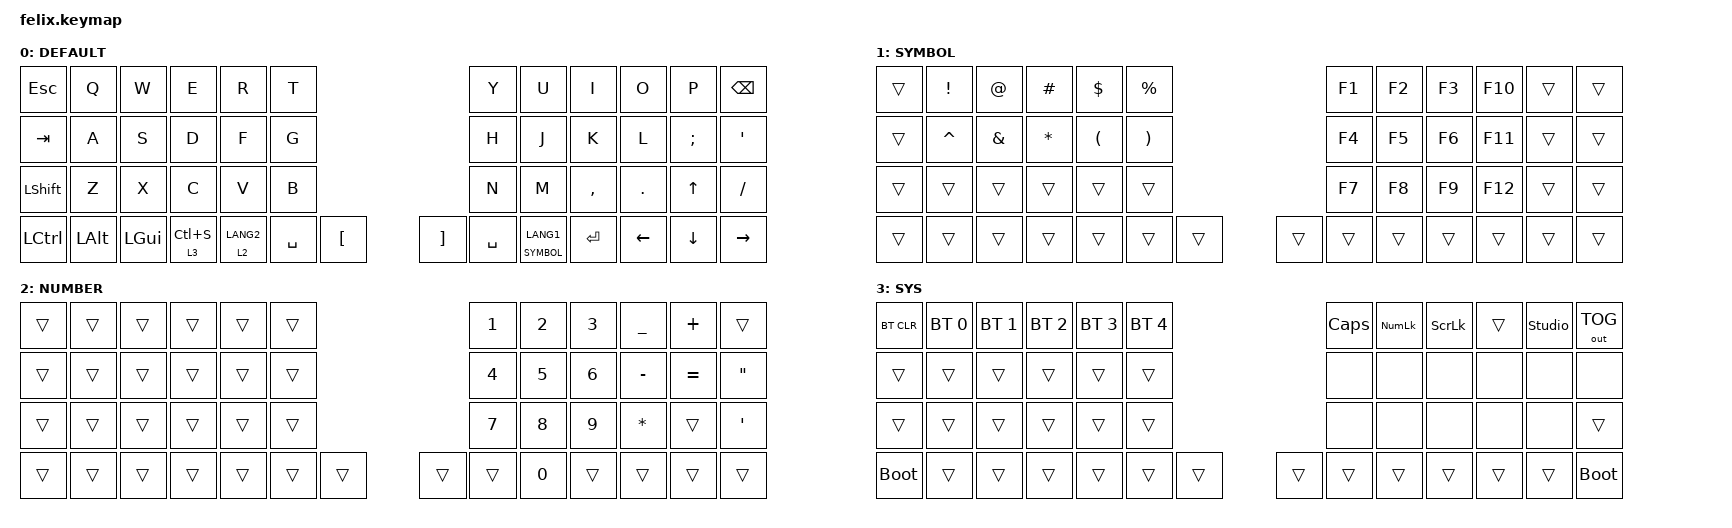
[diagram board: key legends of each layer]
/*
 * Copyright (c) 2020 The ZMK Contributors
 *
 * SPDX-License-Identifier: MIT
 */

#include <behaviors.dtsi>
#include <dt-bindings/zmk/bt.h>
#include <dt-bindings/zmk/keys.h>
#include <dt-bindings/zmk/outputs.h>

#define DEFAULT 0
#define SYMBOL  1
#define NUMBER  2
#define SYS     3

/ {
    behaviors {
        lt_eisuu: lt_eisuu {
            compatible = "zmk,behavior-hold-tap";
            label = "LT_EISUU";
            bindings = <&mo>, <&kp>;

            #binding-cells = <2>;
            tapping-term-ms = <200>;
            quick-tap-ms = <125>;
            flavor = "balanced";
        };

        lt_kana: lt_kana {
            compatible = "zmk,behavior-hold-tap";
            label = "LT_KANA";
            bindings = <&mo>, <&kp>;

            #binding-cells = <2>;
            tapping-term-ms = <200>;
            quick-tap-ms = <125>;
            flavor = "balanced";
        };
    };

    keymap {
        compatible = "zmk,keymap";

        default_layer {
            bindings = <
&kp ESC    &kp Q     &kp W     &kp E            &kp R        &kp T                          &kp Y      &kp U             &kp I      &kp O       &kp P          &kp BACKSPACE
&kp TAB    &kp A     &kp S     &kp D            &kp F        &kp G                          &kp H      &kp J             &kp K      &kp L       &kp SEMICOLON  &kp SQT
&kp LSHFT  &kp Z     &kp X     &kp C            &kp V        &kp B                          &kp N      &kp M             &kp COMMA  &kp PERIOD  &kp UP         &kp SLASH
&kp LCTRL  &kp LALT  &kp LGUI  &lt 3 LC(S)      &lt 2 LANG2  &kp SPACE  &kp LBKT  &kp RBKT  &kp SPACE  &lt SYMBOL LANG1  &kp ENTER  &kp LEFT    &kp DOWN       &kp RIGHT
            >;

            label = "DEFAULT";
        };

        symbol_layer {
            bindings = <
&trans  &kp EXCL   &kp AT    &kp HASH   &kp DLLR  &kp PRCNT                  &kp F1  &kp F2  &kp F3  &kp F10  &trans  &trans
&trans  &kp CARET  &kp AMPS  &kp ASTRK  &kp LPAR  &kp RPAR                   &kp F4  &kp F5  &kp F6  &kp F11  &trans  &trans
&trans  &trans     &trans    &trans     &trans    &trans                     &kp F7  &kp F8  &kp F9  &kp F12  &trans  &trans
&trans  &trans     &trans    &trans     &trans    &trans     &trans  &trans  &trans  &trans  &trans  &trans   &trans  &trans
            >;

            label = "SYMBOL";
        };

        number_layer {
            bindings = <
&trans  &trans  &trans  &trans  &trans  &trans                  &kp N1  &kp N2  &kp N3  &kp UNDER  &kp PLUS   &trans
&trans  &trans  &trans  &trans  &trans  &trans                  &kp N4  &kp N5  &kp N6  &kp MINUS  &kp EQUAL  &kp DQT
&trans  &trans  &trans  &trans  &trans  &trans                  &kp N7  &kp N8  &kp N9  &kp ASTRK  &trans     &kp SQT
&trans  &trans  &trans  &trans  &trans  &trans  &trans  &trans  &trans  &kp N0  &trans  &trans     &trans     &trans
            >;

            label = "NUMBER";
        };

        sys_layer {
            bindings = <
&bt BT_CLR   &bt BT_SEL 0  &bt BT_SEL 1  &bt BT_SEL 2  &bt BT_SEL 3  &bt BT_SEL 4                  &kp CAPSLOCK  &kp KP_NUMLOCK  &kp SCROLLLOCK  &trans  &studio_unlock  &out OUT_TOG
&trans       &trans        &trans        &trans        &trans        &trans                        &none         &none           &none           &none   &none           &none
&trans       &trans        &trans        &trans        &trans        &trans                        &none         &none           &none           &none   &none           &trans
&bootloader  &trans        &trans        &trans        &trans        &trans        &trans  &trans  &trans        &trans          &trans          &trans  &trans          &bootloader
            >;

            label = "SYS";
        };

        extra1 { status = "reserved"; };

        extra2 { status = "reserved"; };

        extra3 { status = "reserved"; };

        extra4 { status = "reserved"; };
    };
};
